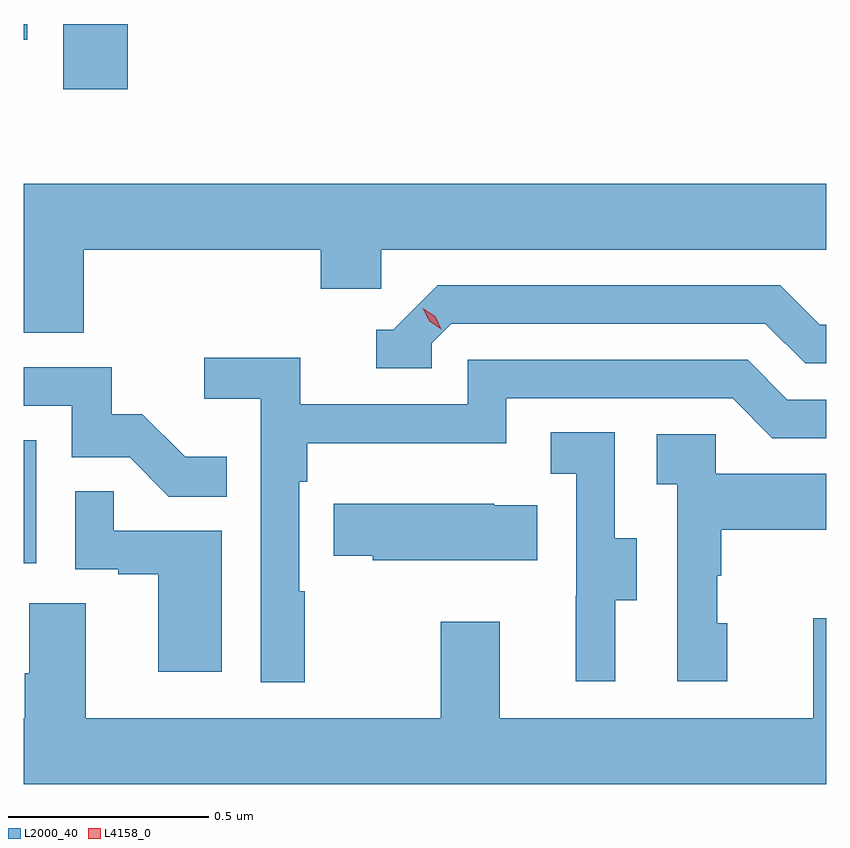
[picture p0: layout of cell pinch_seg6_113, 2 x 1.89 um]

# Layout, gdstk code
import gdstk
lib = gdstk.Library(unit=1e-6, precision=1e-09)
def R(c, l, rs):  # rectangles x0, y0, x1, y1
    for r in rs: c.add(gdstk.rectangle(r[:2], r[2:], *l))
def P(c, l, *ps):  # polygons
    for p in ps: c.add(gdstk.Polygon(p, *l))
L2000_40 = (2000, 40)
L4158_0 = (4158, 0)

pinch_seg6_113 = lib.new_cell('pinch_seg6_113')
R(pinch_seg6_113, L2000_40, [(906.045,918.582,906.076,918.889), (906.143,919.764,906.304,919.926), (906.045,919.887,906.054,919.926)])
P(pinch_seg6_113, L2000_40, [(906.194,919.364),(906.785,919.364),(906.785,919.266),(906.936,919.266),(906.936,919.364),(908.045,919.364),(908.045,919.528),(906.045,919.528),(906.045,919.156),(906.194,919.156)],
  [(907.062,919.131),(907.11,919.179),(907.893,919.179),(907.992,919.08),(908.045,919.08),(908.045,919.176),(908.029,919.176),(907.93,919.275),(907.077,919.275),(906.966,919.164),(906.923,919.164),(906.923,919.068),(907.062,919.068)],
  [(906.745,918.512),(906.732,918.512),(906.732,918.785),(906.752,918.785),(906.752,918.881),(907.248,918.881),(907.248,918.993),(907.812,918.993),(907.911,918.894),(908.045,918.894),(908.045,918.99),(907.948,918.99),(907.849,919.089),(907.152,919.089),(907.152,918.978),(906.734,918.978),(906.734,919.094),(906.495,919.094),(906.495,918.992),(906.636,918.992),(906.636,918.285),(906.745,918.285)],
  [(906.551,918.847),(906.447,918.847),(906.34,918.954),(906.264,918.954),(906.264,919.071),(906.045,919.071),(906.045,918.975),(906.165,918.975),(906.165,918.846),(906.309,918.846),(906.407,918.748),(906.551,918.748)],
  [(907.519,918.49),(907.573,918.49),(907.573,918.645),(907.518,918.645),(907.518,918.908),(907.359,918.908),(907.359,918.805),(907.422,918.805),(907.422,918.501),(907.421,918.501),(907.421,918.288),(907.519,918.288)],
  [(907.798,918.432),(907.773,918.432),(907.773,918.551),(907.783,918.551),(907.783,918.665),(908.045,918.665),(908.045,918.805),(907.77,918.805),(907.77,918.903),(907.623,918.903),(907.623,918.779),(907.674,918.779),(907.674,918.288),(907.798,918.288)],
  [(906.538,918.663),(906.269,918.663),(906.269,918.761),(906.174,918.761),(906.174,918.567),(906.281,918.567),(906.281,918.555),(906.38,918.555),(906.38,918.312),(906.538,918.312)],
  [(907.325,918.727),(907.217,918.727),(907.217,918.73),(906.817,918.73),(906.817,918.601),(906.915,918.601),(906.915,918.59),(907.325,918.59)],
  [(908.045,918.445),(908.012,918.445),(908.012,918.196),(907.231,918.196),(907.231,918.436),(907.084,918.436),(907.084,918.196),(906.199,918.196),(906.199,918.482),(906.059,918.482),(906.059,918.308),(906.047,918.308),(906.047,918.196),(906.045,918.196),(906.045,918.032),(908.045,918.032)])
P(pinch_seg6_113, L4158_0, [(907.086,919.165),(907.056,919.185),(907.04,919.218),(907.04,919.218),(907.04,919.218),(907.071,919.198),(907.086,919.165),(907.086,919.165)])

lib.write_gds('pinch_seg6_113.gds')
